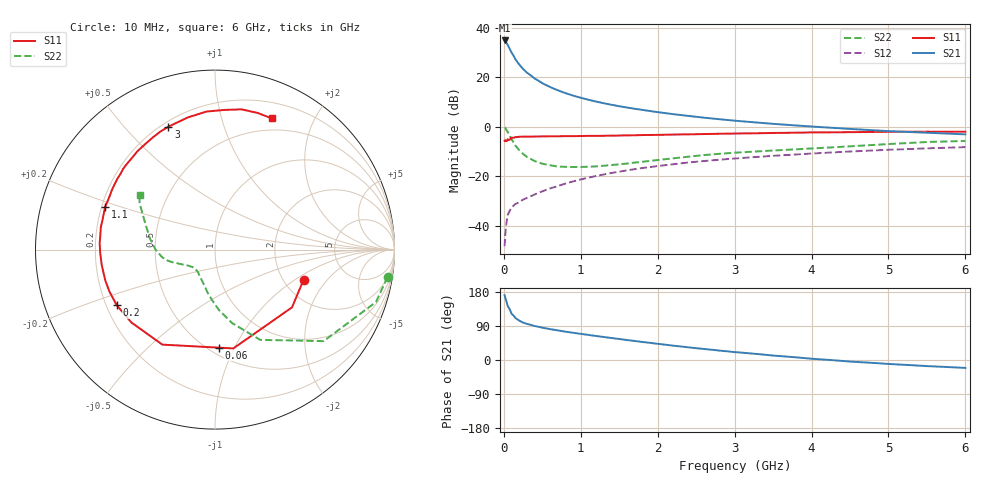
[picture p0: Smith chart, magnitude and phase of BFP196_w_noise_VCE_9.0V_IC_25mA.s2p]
! (c) 2017  Infineon Technologies AG, Munich
! Infineon Technologies  Discrete & RF Semiconductors
! BFP196
! VCE =  9.0 V,  IC =  25 mA
! Common Emitter S-Parameters:  Jan 2017
# GHz  S  MA  R  50
!  f  S11  S21  S12  S22
! GHz  MAG  ANG  MAG  ANG  MAG  ANG  MAG  ANG
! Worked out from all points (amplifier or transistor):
!   77 points, 10 MHz to 6 GHz, reference 50 ohm
!   highest |S21| = 34.9 dB at 10 MHz (marker M1)
!   |S21| within 3 dB of that: start of sweep to 69.93 MHz
!   unconditionally stable (mu >= 1): 730 MHz to 2.375 GHz
!   at 130 MHz: K = 0.42, MSG = 30.1 dB, |S12| = -31.7 dB
!   at 2.2 GHz: K = 1.01, MAG = 9.5 dB, |S12| = -15.1 dB
!   at 6 GHz: K = 0.92, MSG = 2.6 dB, |S12| = -8.2 dB
!   lowest NFmin = 1.15 dB at 450 MHz
!   S11 on the Smith chart (normalised r, x): 10 MHz: 2.56, -1.18; 60 MHz: 0.56, -0.87; 200 MHz: 0.24, -0.25; 1.1 GHz: 0.21, +0.18; 3 GHz: 0.23, +0.67; 6 GHz: 0.36, +1.46
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0.01  0.5216 -18.7  55.31 171.1  0.0039 78.9  0.9732 -9.0
0.02  0.5364 -36.9  54.44 163.1  0.0071 80.1  0.9436 -18.0
0.05  0.5599 -79.5  45.08 142.5  0.0166 60.3  0.7915 -40.1
0.06  0.5468 -87.6  42.04 139.5  0.018 57.8  0.7379 -43.6
0.1  0.6053 -119.0  31.6 122.0  0.0236 50.8  0.5626 -63.4
0.15  0.6181 -139.0  23.14 110.9  0.0277 46.7  0.4201 -76.9
0.2  0.6292 -150.5  18.07 103.9  0.0302 48.1  0.3376 -86.2
0.25  0.633 -158.5  14.73 98.8  0.034 48.2  0.2838 -93.0
0.3  0.6349 -164.2  12.4 95.3  0.0366 50.1  0.2471 -99.1
0.4  0.6369 -172.2  9.446 89.6  0.0431 53.7  0.2038 -107.8
0.5  0.6399 -178.4  7.592 85.3  0.0498 56.0  0.1805 -115.3
0.6  0.6435 176.8  6.367 81.5  0.057 57.6  0.1672 -121.6
0.7  0.644 172.8  5.466 78.2  0.0635 58.9  0.1581 -126.3
0.9  0.648 165.3  4.262 71.9  0.079 60.0  0.1546 -134.0
1.1  0.6568 158.8  3.516 66.2  0.0942 59.9  0.1564 -139.8
1.5  0.6671 147.1  2.603 55.4  0.1245 57.5  0.1747 -149.5
2.1  0.6918 130.8  1.888 40.4  0.1685 51.8  0.2221 -159.9
3  0.7323 110.8  1.33 20.9  0.2291 41.4  0.3003 -172.5
3.1  0.7346 108.9  1.291 19.3  0.235 40.2  0.3063 -174.2
4.1  0.7715 92.0  0.991 2.0  0.2942 28.8  0.3726 168.9
5.1  0.7949 78.0  0.806 -11.5  0.3482 17.4  0.4571 152.7
6  0.7963 66.7  0.704 -20.9  0.3892 7.1  0.5192 143.8
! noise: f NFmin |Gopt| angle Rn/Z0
0.45  1.15  0.34  164  0.05
0.9  1.34  0.45  -176  0.06
1.9  2.21  0.68  -136  0.24
2.4  2.64  0.71  -122  0.59
